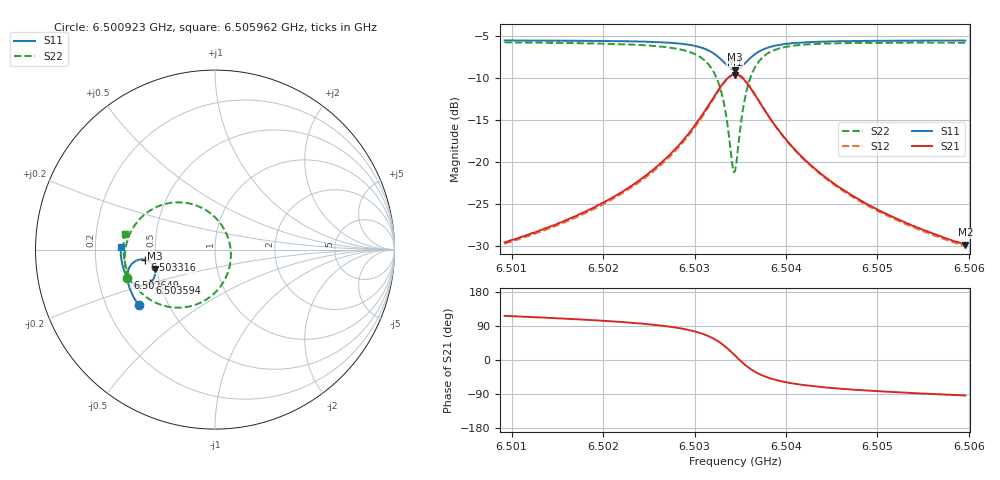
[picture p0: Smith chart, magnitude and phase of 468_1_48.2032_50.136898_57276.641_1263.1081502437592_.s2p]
#  HZ  S  RI  R  50.00
! Rohde & Schwarz Vector Network Analyzer
! Rohde-Schwarz,ZNB20-2Port,1311601062101988,3.16
! Created: UTC 3/20/2024, 11:57:01 AM
! freq[Hz]  re:S11  im:S11  re:S21  im:S21  re:S12  im:S12  re:S22  im:S22
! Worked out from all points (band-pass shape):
!   401 points, 6.500923 GHz to 6.505962 GHz, reference 50 ohm
!   highest |S21| = -9.62 dB at 6.503442 GHz (marker M1); lowest = -29.8 dB at 6.505962 GHz (marker M2)
!   |S21| within 3 dB of the highest: 6.503191 GHz to 6.503695 GHz (503.7 kHz wide, 0.00775 % of centre)
!   lowest |S11| = -9.1 dB at 6.503442 GHz (marker M3), VSWR 2.09, Z = 24.4 - j5.87 ohm
!   |S11| at or under -10 dB: nowhere
!   |S22| runs from -21.2 to -5.8 dB; largest |S21 - S12| = 0.012
!   S11 on the Smith chart (normalised r, x): 6.500923 GHz: 0.34, -0.29; 6.502649 GHz: 0.33, -0.14; 6.503316 GHz: 0.44, -0.06; 6.503594 GHz: 0.44, -0.20; 6.505962 GHz: 0.31, +0.01
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6.500923e9  -0.4257 -0.3099  -0.0148 0.0299  -0.0132 0.03  -0.4885 -0.1575
6.501767e9  -0.462 -0.2477  -0.0144 0.0475  -0.0119 0.0472  -0.5025 -0.0684
6.5022205e9  -0.478 -0.2077  -0.0116 0.0663  -0.00842 0.0652  -0.4998 -0.00467
6.502611e9  -0.4873 -0.1648  -0.00238 0.0963  0.00135 0.094  -0.4803 0.0726
6.5026488e9  -0.4878 -0.1599  -0.000658 0.1005  0.00322 0.0981  -0.4764 0.0821
6.502926e9  -0.4838 -0.117  0.026 0.143  0.0299 0.1385  -0.4213 0.1679
6.5031149e9  -0.4624 -0.0788  0.08 0.1853  0.0827 0.1789  -0.3179 0.2406
6.5032283e9  -0.4298 -0.0582  0.149 0.2029  0.1503 0.1965  -0.1934 0.2632
6.5033165e9  -0.3892 -0.0564  0.2288 0.1869  0.2294 0.1815  -0.0562 0.2232
6.5033543e9  -0.37 -0.0641  0.2651 0.1639  0.2663 0.159  0.004 0.1764
6.5034173e9  -0.3431 -0.0908  0.3133 0.0998  0.3162 0.0944  0.0769 0.053
6.5034424e9  -0.3365 -0.1055  0.3236 0.0674  0.3271 0.0611  0.0878 -0.00708
6.5034676e9  -0.3336 -0.1214  0.3273 0.0337  0.331 0.0261  0.0862 -0.0691
6.5035306e9  -0.3407 -0.1588  0.3092 -0.0448  0.3114 -0.0552  0.0308 -0.2051
6.5035936e9  -0.3621 -0.1851  0.266 -0.0992  0.2649 -0.111  -0.0665 -0.2887
6.5036944e9  -0.4019 -0.2004  0.1909 -0.1356  0.1855 -0.1456  -0.2173 -0.3234
6.5038582e9  -0.4482 -0.1908  0.1088 -0.1326  0.1016 -0.1379  -0.3654 -0.2766
6.5040345e9  -0.4757 -0.1694  0.0641 -0.1123  0.0577 -0.1147  -0.4377 -0.2114
6.5042865e9  -0.4964 -0.1394  0.0341 -0.088  0.0291 -0.0886  -0.4813 -0.1392
6.5046392e9  -0.5113 -0.1024  0.0158 -0.0658  0.0122 -0.0656  -0.503 -0.0685
6.5051305e9  -0.5212 -0.0568  0.00502 -0.0481  0.00271 -0.0475  -0.51 0.00148
6.5059619e9  -0.526 0.0135  -0.00217 -0.0323  -0.00343 -0.0315  -0.5024 0.089
